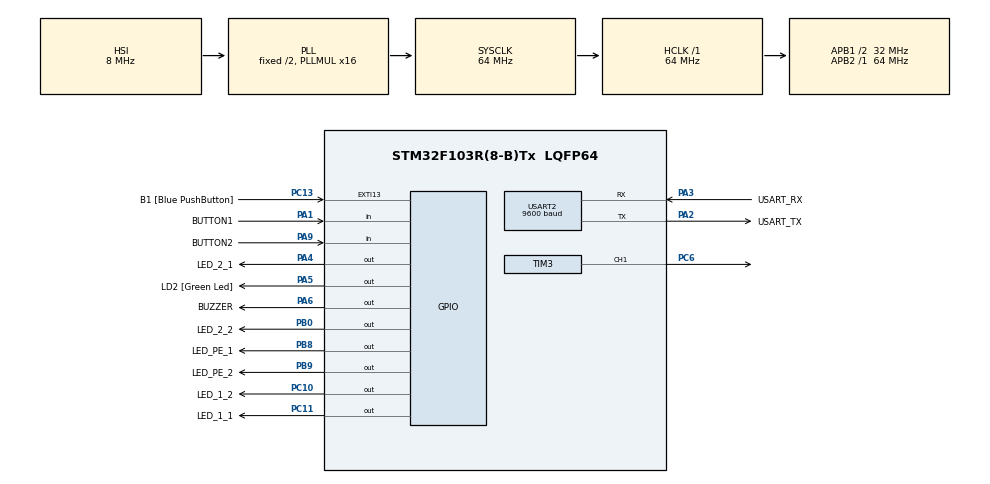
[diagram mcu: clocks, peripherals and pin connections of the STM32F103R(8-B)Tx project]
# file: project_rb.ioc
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Mcu.Family=STM32F1
Mcu.Name=STM32F103R(8-B)Tx
Mcu.Package=LQFP64
NVIC.EXTI15_10_IRQn=true\:0\:0\:false\:false\:true\:true\:true
NVIC.PriorityGroup=NVIC_PRIORITYGROUP_4
NVIC.TIM2_IRQn=true\:0\:0\:false\:false\:true\:true\:true
NVIC.TIM3_IRQn=true\:0\:0\:false\:false\:true\:true\:true
NVIC.USART2_IRQn=true\:0\:0\:false\:false\:true\:true\:true
PA1.GPIO_Label=BUTTON1
PA1.GPIO_PuPd=GPIO_PULLUP
PA1.Signal=GPIO_Input
PA13.GPIO_Label=TMS
PA13.Mode=Serial_Wire
PA13.Signal=SYS_JTMS-SWDIO
PA14.GPIO_Label=TCK
PA14.Mode=Serial_Wire
PA14.Signal=SYS_JTCK-SWCLK
PA2.GPIO_Label=USART_TX
PA2.GPIO_Mode=GPIO_MODE_AF_PP
PA2.GPIO_PuPd=GPIO_NOPULL
PA2.GPIO_Speed=GPIO_SPEED_FREQ_LOW
PA2.Mode=Asynchronous
PA2.Signal=USART2_TX
PA3.GPIO_Label=USART_RX
PA3.GPIO_Mode=GPIO_MODE_AF_PP
PA3.GPIO_PuPd=GPIO_NOPULL
PA3.GPIO_Speed=GPIO_SPEED_FREQ_LOW
PA3.Mode=Asynchronous
PA3.Signal=USART2_RX
PA4.GPIO_Label=LED_2_1
PA4.Signal=GPIO_Output
PA5.GPIO_Label=LD2 [Green Led]
PA5.GPIO_ModeDefaultOutputPP=GPIO_MODE_OUTPUT_PP
PA5.GPIO_PuPd=GPIO_NOPULL
PA5.GPIO_Speed=GPIO_SPEED_FREQ_LOW
PA5.Signal=GPIO_Output
PA6.GPIO_Label=BUZZER
PA6.Signal=GPIO_Output
PA9.GPIO_Label=BUTTON2
PA9.GPIO_PuPd=GPIO_PULLUP
PA9.Signal=GPIO_Input
PB0.GPIO_Label=LED_2_2
PB0.Signal=GPIO_Output
PB3.GPIO_Label=SWO
PB3.Signal=SYS_JTDO-TRACESWO
PB8.GPIO_Label=LED_PE_1
PB8.Signal=GPIO_Output
PB9.GPIO_Label=LED_PE_2
PB9.Signal=GPIO_Output
PC10.GPIO_Label=LED_1_2
PC10.Signal=GPIO_Output
PC11.GPIO_Label=LED_1_1
PC11.Signal=GPIO_Output
PC13-TAMPER-RTC.GPIO_Label=B1 [Blue PushButton]
PC13-TAMPER-RTC.GPIO_PuPd=GPIO_NOPULL
PC13-TAMPER-RTC.Signal=GPXTI13
PC14-OSC32_IN.Mode=LSE-External-Oscillator
PC14-OSC32_IN.Signal=RCC_OSC32_IN
PC15-OSC32_OUT.Mode=LSE-External-Oscillator
PC15-OSC32_OUT.Signal=RCC_OSC32_OUT
PC6.Signal=S_TIM3_CH1
PD0-OSC_IN.Mode=HSE-External-Clock-Source
PD0-OSC_IN.Signal=RCC_OSC_IN
PD1-OSC_OUT.Mode=HSE-External-Clock-Source
PD1-OSC_OUT.Signal=RCC_OSC_OUT
ProjectManager.HeapSize=0x200
ProjectManager.StackSize=0x400
ProjectManager.TargetToolchain=STM32CubeIDE
RCC.AHBFreq_Value=64000000
RCC.APB1CLKDivider=RCC_HCLK_DIV2
RCC.APB1Freq_Value=32000000
RCC.APB1TimFreq_Value=64000000
RCC.APB2Freq_Value=64000000
RCC.APB2TimFreq_Value=64000000
RCC.HCLKFreq_Value=64000000
RCC.PLLMUL=RCC_PLL_MUL16
RCC.RTCClockSelection=RCC_RTCCLKSOURCE_LSE
RCC.SYSCLKFreq_VALUE=64000000
RCC.SYSCLKSource=RCC_SYSCLKSOURCE_PLLCLK
RCC.USBFreq_Value=64000000
SH.S_TIM3_CH1.0=TIM3_CH1,PWM Generation1 CH1
TIM2.Period=99
TIM2.Prescaler=6399
TIM3.Channel-PWM\ Generation1\ CH1=TIM_CHANNEL_1
TIM3.Period=9
TIM3.Prescaler=6399
USART2.BaudRate=9600
USART2.VirtualMode=VM_ASYNC
VP_TIM2_VS_ClockSourceINT.Mode=Internal
VP_TIM3_VS_ClockSourceINT.Mode=Internal
board=NUCLEO-F103RB

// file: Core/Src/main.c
/* USER CODE BEGIN Header */
/**
 ******************************************************************************
 * @file           : main.c
 * @brief          : Main program body
 ******************************************************************************
 * @attention
 *
 * <h2><center>&copy; Copyright (c) 2023 STMicroelectronics.
 * All rights reserved.</center></h2>
 *
 * This software component is licensed by ST under BSD 3-Clause license,
 * the "License"; You may not use this file except in compliance with the
 * License. You may obtain a copy of the License at:
 *                        opensource.org/licenses/BSD-3-Clause
 *
 ******************************************************************************
 */
/* USER CODE END Header */
#include "main.h"

/* USER CODE BEGIN Includes */
#include "button.h"
#include "software_timer.h"
#include "scheduler.h"
#include "auto_mode.h"
#include "manual_mode.h"
#include "manager.h"
#include "pedestian.h"
/* USER CODE END Includes */

TIM_HandleTypeDef htim2;
TIM_HandleTypeDef htim3;

UART_HandleTypeDef huart2;

void SystemClock_Config(void);
static void MX_GPIO_Init(void);
static void MX_USART2_UART_Init(void);
static void MX_TIM2_Init(void);
static void MX_TIM3_Init(void);

int main(void)
{

  /* MCU Configuration--------------------------------------------------------*/

  /* Reset of all peripherals, Initializes the Flash interface and the Systick. */
  HAL_Init();

  /* Configure the system clock */
  SystemClock_Config();

  /* Initialize all configured peripherals */
  MX_GPIO_Init();
  MX_USART2_UART_Init();
  MX_TIM2_Init();
  MX_TIM3_Init();
  /* USER CODE BEGIN 2 */
  HAL_TIM_Base_Start_IT(&htim2);
  HAL_TIM_PWM_Start(&htim3, TIM_CHANNEL_1);
  /* USER CODE END 2 */

  /* Infinite loop */
  /* USER CODE BEGIN WHILE */

  // Initial start parameter
  init_button();
  SCH_Init();

  // Add tasks to scheduler
  SCH_Add_Task(get_key, 10, 10);
  SCH_Add_Task(manager_state, 10, 100);
  SCH_Add_Task(stateUI, 10, 1000);

  while (1)
  {
	  SCH_Dispatch_Tasks();
    /* USER CODE END WHILE */

  }
}

void SystemClock_Config(void)
{
  RCC_OscInitTypeDef RCC_OscInitStruct = {0};
  RCC_ClkInitTypeDef RCC_ClkInitStruct = {0};

  /** Initializes the RCC Oscillators according to the specified parameters
  * in the RCC_OscInitTypeDef structure.
  */
  RCC_OscInitStruct.OscillatorType = RCC_OSCILLATORTYPE_HSI;
  RCC_OscInitStruct.HSIState = RCC_HSI_ON;
  RCC_OscInitStruct.HSICalibrationValue = RCC_HSICALIBRATION_DEFAULT;
  RCC_OscInitStruct.PLL.PLLState = RCC_PLL_ON;
  RCC_OscInitStruct.PLL.PLLSource = RCC_PLLSOURCE_HSI_DIV2;
  RCC_OscInitStruct.PLL.PLLMUL = RCC_PLL_MUL16;
  if (HAL_RCC_OscConfig(&RCC_OscInitStruct) != HAL_OK)
  {
    Error_Handler();
  }
  /** Initializes the CPU, AHB and APB buses clocks
  */
  RCC_ClkInitStruct.ClockType = RCC_CLOCKTYPE_HCLK|RCC_CLOCKTYPE_SYSCLK
                              |RCC_CLOCKTYPE_PCLK1|RCC_CLOCKTYPE_PCLK2;
  RCC_ClkInitStruct.SYSCLKSource = RCC_SYSCLKSOURCE_PLLCLK;
  RCC_ClkInitStruct.AHBCLKDivider = RCC_SYSCLK_DIV1;
  RCC_ClkInitStruct.APB1CLKDivider = RCC_HCLK_DIV2;
  RCC_ClkInitStruct.APB2CLKDivider = RCC_HCLK_DIV1;

  if (HAL_RCC_ClockConfig(&RCC_ClkInitStruct, FLASH_LATENCY_2) != HAL_OK)
  {
    Error_Handler();
  }
}

static void MX_TIM2_Init(void)
{

  TIM_ClockConfigTypeDef sClockSourceConfig = {0};
  TIM_MasterConfigTypeDef sMasterConfig = {0};

  htim2.Instance = TIM2;
  htim2.Init.Prescaler = 6399;
  htim2.Init.CounterMode = TIM_COUNTERMODE_UP;
  htim2.Init.Period = 99;
  htim2.Init.ClockDivision = TIM_CLOCKDIVISION_DIV1;
  htim2.Init.AutoReloadPreload = TIM_AUTORELOAD_PRELOAD_DISABLE;
  if (HAL_TIM_Base_Init(&htim2) != HAL_OK)
  {
    Error_Handler();
  }
  sClockSourceConfig.ClockSource = TIM_CLOCKSOURCE_INTERNAL;
  if (HAL_TIM_ConfigClockSource(&htim2, &sClockSourceConfig) != HAL_OK)
  {
    Error_Handler();
  }
  sMasterConfig.MasterOutputTrigger = TIM_TRGO_RESET;
  sMasterConfig.MasterSlaveMode = TIM_MASTERSLAVEMODE_DISABLE;
  if (HAL_TIMEx_MasterConfigSynchronization(&htim2, &sMasterConfig) != HAL_OK)
  {
    Error_Handler();
  }

}

static void MX_TIM3_Init(void)
{

  TIM_ClockConfigTypeDef sClockSourceConfig = {0};
  TIM_MasterConfigTypeDef sMasterConfig = {0};
  TIM_OC_InitTypeDef sConfigOC = {0};

  htim3.Instance = TIM3;
  htim3.Init.Prescaler = 6399;
  htim3.Init.CounterMode = TIM_COUNTERMODE_UP;
  htim3.Init.Period = 9;
  htim3.Init.ClockDivision = TIM_CLOCKDIVISION_DIV1;
  htim3.Init.AutoReloadPreload = TIM_AUTORELOAD_PRELOAD_DISABLE;
  if (HAL_TIM_Base_Init(&htim3) != HAL_OK)
  {
    Error_Handler();
  }
  sClockSourceConfig.ClockSource = TIM_CLOCKSOURCE_INTERNAL;
  if (HAL_TIM_ConfigClockSource(&htim3, &sClockSourceConfig) != HAL_OK)
  {
    Error_Handler();
  }
  if (HAL_TIM_PWM_Init(&htim3) != HAL_OK)
  {
    Error_Handler();
  }
  sMasterConfig.MasterOutputTrigger = TIM_TRGO_RESET;
  sMasterConfig.MasterSlaveMode = TIM_MASTERSLAVEMODE_DISABLE;
  if (HAL_TIMEx_MasterConfigSynchronization(&htim3, &sMasterConfig) != HAL_OK)
  {
    Error_Handler();
  }
  sConfigOC.OCMode = TIM_OCMODE_PWM1;
  sConfigOC.Pulse = 0;
  sConfigOC.OCPolarity = TIM_OCPOLARITY_HIGH;
  sConfigOC.OCFastMode = TIM_OCFAST_DISABLE;
  if (HAL_TIM_PWM_ConfigChannel(&htim3, &sConfigOC, TIM_CHANNEL_1) != HAL_OK)
  {
    Error_Handler();
  }
  HAL_TIM_MspPostInit(&htim3);

}

static void MX_USART2_UART_Init(void)
{

  huart2.Instance = USART2;
  huart2.Init.BaudRate = 9600;
  huart2.Init.WordLength = UART_WORDLENGTH_8B;
  huart2.Init.StopBits = UART_STOPBITS_1;
  huart2.Init.Parity = UART_PARITY_NONE;
  huart2.Init.Mode = UART_MODE_TX_RX;
  huart2.Init.HwFlowCtl = UART_HWCONTROL_NONE;
  huart2.Init.OverSampling = UART_OVERSAMPLING_16;
  if (HAL_UART_Init(&huart2) != HAL_OK)
  {
    Error_Handler();
  }

}

static void MX_GPIO_Init(void)
{
  GPIO_InitTypeDef GPIO_InitStruct = {0};

  /* GPIO Ports Clock Enable */
  __HAL_RCC_GPIOC_CLK_ENABLE();
  __HAL_RCC_GPIOD_CLK_ENABLE();
  __HAL_RCC_GPIOA_CLK_ENABLE();
  __HAL_RCC_GPIOB_CLK_ENABLE();

  /*Configure GPIO pin Output Level */
  HAL_GPIO_WritePin(GPIOA, LED_2_1_Pin|LD2_Pin|BUZZER_Pin, GPIO_PIN_RESET);

  /*Configure GPIO pin Output Level */
  HAL_GPIO_WritePin(GPIOB, LED_2_2_Pin|LED_PE_1_Pin|LED_PE_2_Pin, GPIO_PIN_RESET);

  /*Configure GPIO pin Output Level */
  HAL_GPIO_WritePin(GPIOC, LED_1_2_Pin|LED_1_1_Pin, GPIO_PIN_RESET);

  /*Configure GPIO pin : B1_Pin */
  GPIO_InitStruct.Pin = B1_Pin;
  GPIO_InitStruct.Mode = GPIO_MODE_IT_RISING;
  GPIO_InitStruct.Pull = GPIO_NOPULL;
  HAL_GPIO_Init(B1_GPIO_Port, &GPIO_InitStruct);

  /*Configure GPIO pins : BUTTON1_Pin BUTTON2_Pin */
  GPIO_InitStruct.Pin = BUTTON1_Pin|BUTTON2_Pin;
  GPIO_InitStruct.Mode = GPIO_MODE_INPUT;
  GPIO_InitStruct.Pull = GPIO_PULLUP;
  HAL_GPIO_Init(GPIOA, &GPIO_InitStruct);

  /*Configure GPIO pins : LED_2_1_Pin LD2_Pin BUZZER_Pin */
  GPIO_InitStruct.Pin = LED_2_1_Pin|LD2_Pin|BUZZER_Pin;
  GPIO_InitStruct.Mode = GPIO_MODE_OUTPUT_PP;
  GPIO_InitStruct.Pull = GPIO_NOPULL;
  GPIO_InitStruct.Speed = GPIO_SPEED_FREQ_LOW;
  HAL_GPIO_Init(GPIOA, &GPIO_InitStruct);

  /*Configure GPIO pins : LED_2_2_Pin LED_PE_1_Pin LED_PE_2_Pin */
  GPIO_InitStruct.Pin = LED_2_2_Pin|LED_PE_1_Pin|LED_PE_2_Pin;
  GPIO_InitStruct.Mode = GPIO_MODE_OUTPUT_PP;
  GPIO_InitStruct.Pull = GPIO_NOPULL;
  GPIO_InitStruct.Speed = GPIO_SPEED_FREQ_LOW;
  HAL_GPIO_Init(GPIOB, &GPIO_InitStruct);

  /*Configure GPIO pins : LED_1_2_Pin LED_1_1_Pin */
  GPIO_InitStruct.Pin = LED_1_2_Pin|LED_1_1_Pin;
  GPIO_InitStruct.Mode = GPIO_MODE_OUTPUT_PP;
  GPIO_InitStruct.Pull = GPIO_NOPULL;
  GPIO_InitStruct.Speed = GPIO_SPEED_FREQ_LOW;
  HAL_GPIO_Init(GPIOC, &GPIO_InitStruct);

  /* EXTI interrupt init*/
  HAL_NVIC_SetPriority(EXTI15_10_IRQn, 0, 0);
  HAL_NVIC_EnableIRQ(EXTI15_10_IRQn);

}

/* USER CODE BEGIN 4 */
void HAL_TIM_PeriodElapsedCallback(TIM_HandleTypeDef *htim)
{
  if (htim->Instance == TIM2)
  {
    // TODO. The interrupt in timer2, time cycle = 10ms
    SCH_Update();
  }

  if (htim->Instance == TIM3)
  {
    // TODO. The interrupt in timer3, time cycle = 1ms
  }
}
/* USER CODE END 4 */

void Error_Handler(void)
{
  __disable_irq();
  while (1)
  {
  }
}

/************************ (C) COPYRIGHT STMicroelectronics *****END OF FILE****/
